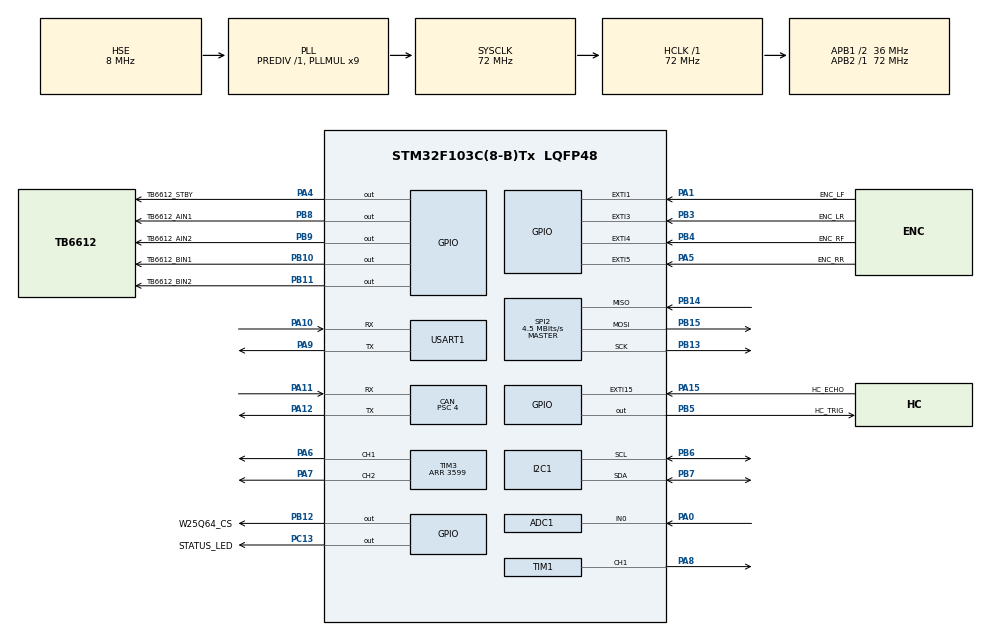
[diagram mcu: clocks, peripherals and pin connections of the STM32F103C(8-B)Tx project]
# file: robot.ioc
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ADC1.Channel-0\#ChannelRegularConversion=ADC_CHANNEL_0
ADC1.ContinuousConvMode=DISABLE
ADC1.NbrOfConversionFlag=1
ADC1.Rank-0\#ChannelRegularConversion=1
ADC1.SamplingTime-0\#ChannelRegularConversion=ADC_SAMPLETIME_55CYCLES_5
ADC1.master=1
CAN.BS1=CAN_BS1_15TQ
CAN.BS2=CAN_BS2_2TQ
CAN.CalculateBaudRate=500000
CAN.CalculateTimeBit=2000
CAN.CalculateTimeQuantum=111.11111111111111
CAN.ABOM=ENABLE
CAN.NART=DISABLE
CAN.Prescaler=4
Dma.ADC1.0.Direction=DMA_PERIPH_TO_MEMORY
Dma.ADC1.0.Instance=DMA1_Channel1
Dma.ADC1.0.MemDataAlignment=DMA_MDATAALIGN_HALFWORD
Dma.ADC1.0.MemInc=DMA_MINC_ENABLE
Dma.ADC1.0.Mode=DMA_NORMAL
Dma.ADC1.0.PeriphDataAlignment=DMA_PDATAALIGN_HALFWORD
Dma.ADC1.0.PeriphInc=DMA_PINC_DISABLE
Dma.ADC1.0.Priority=DMA_PRIORITY_MEDIUM
Dma.Request0=ADC1
Dma.Request1=USART1_RX
Dma.USART1_RX.1.Direction=DMA_PERIPH_TO_MEMORY
Dma.USART1_RX.1.Instance=DMA1_Channel5
Dma.USART1_RX.1.MemDataAlignment=DMA_MDATAALIGN_BYTE
Dma.USART1_RX.1.MemInc=DMA_MINC_ENABLE
Dma.USART1_RX.1.Mode=DMA_CIRCULAR
Dma.USART1_RX.1.PeriphDataAlignment=DMA_PDATAALIGN_BYTE
Dma.USART1_RX.1.PeriphInc=DMA_PINC_DISABLE
Dma.USART1_RX.1.Priority=DMA_PRIORITY_VERY_HIGH
FREERTOS.Tasks01=defaultTask,24,128,StartDefaultTask,Default,NULL,Static,defaultTaskBuffer,defaultTaskControlBlock
Mcu.Family=STM32F1
Mcu.Name=STM32F103C(8-B)Tx
Mcu.Package=LQFP48
NVIC.CAN1_SCE_IRQn=true\:5\:0\:false\:false\:true\:true\:true\:true\:true
NVIC.DMA1_Channel1_IRQn=true\:5\:0\:false\:false\:true\:true\:false\:true\:true
NVIC.DMA1_Channel5_IRQn=true\:5\:0\:false\:false\:true\:true\:false\:true\:true
NVIC.EXTI15_10_IRQn=true\:5\:0\:false\:false\:true\:true\:true\:true\:true
NVIC.EXTI1_IRQn=true\:5\:0\:false\:false\:true\:true\:true\:true\:true
NVIC.EXTI3_IRQn=true\:5\:0\:false\:false\:true\:true\:true\:true\:true
NVIC.EXTI4_IRQn=true\:5\:0\:false\:false\:true\:true\:true\:true\:true
NVIC.EXTI9_5_IRQn=true\:5\:0\:false\:false\:true\:true\:true\:true\:true
NVIC.PriorityGroup=NVIC_PRIORITYGROUP_4
NVIC.TIM2_IRQn=true\:5\:0\:false\:false\:true\:true\:true\:true\:true
NVIC.TIM4_IRQn=true\:15\:0\:false\:false\:true\:false\:false\:true\:true
NVIC.TimeBase=TIM4_IRQn
NVIC.TimeBaseIP=TIM4
NVIC.USART1_IRQn=true\:5\:0\:false\:false\:true\:true\:true\:true\:true
NVIC.USB_HP_CAN1_TX_IRQn=true\:5\:0\:false\:false\:true\:true\:true\:true\:true
NVIC.USB_LP_CAN1_RX0_IRQn=true\:5\:0\:false\:false\:true\:true\:true\:true\:true
PA0-WKUP.Signal=ADCx_IN0
PA1.GPIO_Label=ENC_LF
PA1.GPIO_PuPd=GPIO_PULLUP
PA1.Signal=GPXTI1
PA10.GPIO_PuPd=GPIO_PULLUP
PA10.Mode=Asynchronous
PA10.Signal=USART1_RX
PA11.Mode=CAN_Activate
PA11.Signal=CAN_RX
PA12.Mode=CAN_Activate
PA12.Signal=CAN_TX
PA13.Mode=Serial_Wire
PA13.Signal=SYS_JTMS-SWDIO
PA14.Mode=Serial_Wire
PA14.Signal=SYS_JTCK-SWCLK
PA15.GPIO_Label=HC_ECHO
PA15.GPIO_ModeDefaultEXTI=GPIO_MODE_IT_RISING_FALLING
PA15.GPIO_PuPd=GPIO_NOPULL
PA15.Signal=GPXTI15
PA4.GPIO_Label=TB6612_STBY
PA4.Signal=GPIO_Output
PA5.GPIO_Label=ENC_RR
PA5.GPIO_PuPd=GPIO_PULLUP
PA5.Signal=GPXTI5
PA6.Signal=S_TIM3_CH1
PA7.Signal=S_TIM3_CH2
PA8.Signal=S_TIM1_CH1
PA9.Mode=Asynchronous
PA9.Signal=USART1_TX
PB10.GPIO_Label=TB6612_BIN1
PB10.Signal=GPIO_Output
PB11.GPIO_Label=TB6612_BIN2
PB11.Signal=GPIO_Output
PB12.GPIO_Label=W25Q64_CS
PB12.PinState=GPIO_PIN_SET
PB12.Signal=GPIO_Output
PB13.Mode=Full_Duplex_Master
PB13.Signal=SPI2_SCK
PB14.Mode=Full_Duplex_Master
PB14.Signal=SPI2_MISO
PB15.Mode=Full_Duplex_Master
PB15.Signal=SPI2_MOSI
PB3.GPIO_Label=ENC_LR
PB3.GPIO_PuPd=GPIO_PULLUP
PB3.Signal=GPXTI3
PB4.GPIO_Label=ENC_RF
PB4.GPIO_PuPd=GPIO_PULLUP
PB4.Signal=GPXTI4
PB5.GPIO_Label=HC_TRIG
PB5.Signal=GPIO_Output
PB6.Mode=I2C
PB6.Signal=I2C1_SCL
PB7.Mode=I2C
PB7.Signal=I2C1_SDA
PB8.GPIO_Label=TB6612_AIN1
PB8.Signal=GPIO_Output
PB9.GPIO_Label=TB6612_AIN2
PB9.Signal=GPIO_Output
PC13-TAMPER-RTC.GPIO_Label=STATUS_LED
PC13-TAMPER-RTC.PinState=GPIO_PIN_SET
PC13-TAMPER-RTC.Signal=GPIO_Output
PD0-OSC_IN.Mode=HSE-External-Oscillator
PD0-OSC_IN.Signal=RCC_OSC_IN
PD1-OSC_OUT.Mode=HSE-External-Oscillator
PD1-OSC_OUT.Signal=RCC_OSC_OUT
ProjectManager.HeapSize=0x200
ProjectManager.StackSize=0x400
ProjectManager.TargetToolchain=CMake
RCC.ADCPresc=RCC_ADCPCLK2_DIV6
RCC.AHBFreq_Value=72000000
RCC.APB1CLKDivider=RCC_HCLK_DIV2
RCC.APB1Freq_Value=36000000
RCC.APB1TimFreq_Value=72000000
RCC.APB2Freq_Value=72000000
RCC.APB2TimFreq_Value=72000000
RCC.HCLKFreq_Value=72000000
RCC.PLLMUL=RCC_PLL_MUL9
RCC.PLLSourceVirtual=RCC_PLLSOURCE_HSE
RCC.SYSCLKFreq_VALUE=72000000
RCC.SYSCLKSource=RCC_SYSCLKSOURCE_PLLCLK
RCC.USBFreq_Value=72000000
SH.ADCx_IN0.0=ADC1_IN0,IN0
SH.S_TIM1_CH1.0=TIM1_CH1,PWM Generation1 CH1
SH.S_TIM3_CH1.0=TIM3_CH1,PWM Generation1 CH1
SH.S_TIM3_CH2.0=TIM3_CH2,PWM Generation2 CH2
SPI2.BaudRatePrescaler=SPI_BAUDRATEPRESCALER_8
SPI2.CalculateBaudRate=4.5 MBits/s
SPI2.Direction=SPI_DIRECTION_2LINES
SPI2.Mode=SPI_MODE_MASTER
SPI2.VirtualType=VM_MASTER
TIM1.Channel-PWM\ Generation1\ CH1=TIM_CHANNEL_1
TIM1.Period=19999
TIM1.Prescaler=71
TIM1.Pulse-PWM\ Generation1\ CH1=1500
TIM2.Period=65535
TIM2.Prescaler=71
TIM3.Channel-PWM\ Generation1\ CH1=TIM_CHANNEL_1
TIM3.Channel-PWM\ Generation2\ CH2=TIM_CHANNEL_2
TIM3.Period=3599
USART1.VirtualMode=VM_ASYNC
VP_FREERTOS_VS_CMSIS_V2.Mode=CMSIS_V2
VP_SYS_VS_tim4.Mode=TIM4
VP_TIM2_VS_ClockSourceINT.Mode=Internal
board=custom

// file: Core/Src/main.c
/* USER CODE BEGIN Header */
/**
  ******************************************************************************
  * @file           : main.c
  * @brief          : Main program body
  ******************************************************************************
  * @attention
  *
  * Copyright (c) 2026 STMicroelectronics.
  * All rights reserved.
  *
  * This software is licensed under terms that can be found in the LICENSE file
  * in the root directory of this software component.
  * If no LICENSE file comes with this software, it is provided AS-IS.
  *
  ******************************************************************************
  */
/* USER CODE END Header */
#include "main.h"
#include "cmsis_os.h"
#include "adc.h"
#include "can.h"
#include "dma.h"
#include "i2c.h"
#include "spi.h"
#include "tim.h"
#include "usart.h"
#include "gpio.h"

/* USER CODE BEGIN Includes */
#include "motor.h"
#include "power_supply_guard.h"

/* USER CODE END Includes */

void SystemClock_Config(void);
void MX_FREERTOS_Init(void);

int main(void)
{

  /* MCU Configuration--------------------------------------------------------*/

  /* Reset of all peripherals, Initializes the Flash interface and the Systick. */
  HAL_Init();

  /* Configure the system clock */
  SystemClock_Config();

  /* Initialize all configured peripherals */
  MX_GPIO_Init();
  MX_DMA_Init();
  MX_ADC1_Init();
  MX_I2C1_Init();
  MX_SPI2_Init();
  MX_USART1_UART_Init();
  MX_CAN_Init();
  MX_TIM1_Init();
  MX_TIM2_Init();
  MX_TIM3_Init();
  /* USER CODE BEGIN 2 */
  if (!PowerSupplyGuard_Init())
  {
    Error_Handler();
  }

  /* USER CODE END 2 */

  /* Init scheduler */
  osKernelInitialize();  /* Call init function for freertos objects (in cmsis_os2.c) */
  MX_FREERTOS_Init();

  /* Start scheduler */
  osKernelStart();

  /* We should never get here as control is now taken by the scheduler */

  /* Infinite loop */
  /* USER CODE BEGIN WHILE */
  Error_Handler();
  while (1)
  {
    /* USER CODE END WHILE */

  }
}

void SystemClock_Config(void)
{
  RCC_OscInitTypeDef RCC_OscInitStruct = {0};
  RCC_ClkInitTypeDef RCC_ClkInitStruct = {0};
  RCC_PeriphCLKInitTypeDef PeriphClkInit = {0};

  /** Initializes the RCC Oscillators according to the specified parameters
  * in the RCC_OscInitTypeDef structure.
  */
  RCC_OscInitStruct.OscillatorType = RCC_OSCILLATORTYPE_HSE;
  RCC_OscInitStruct.HSEState = RCC_HSE_ON;
  RCC_OscInitStruct.HSEPredivValue = RCC_HSE_PREDIV_DIV1;
  RCC_OscInitStruct.HSIState = RCC_HSI_ON;
  RCC_OscInitStruct.PLL.PLLState = RCC_PLL_ON;
  RCC_OscInitStruct.PLL.PLLSource = RCC_PLLSOURCE_HSE;
  RCC_OscInitStruct.PLL.PLLMUL = RCC_PLL_MUL9;
  if (HAL_RCC_OscConfig(&RCC_OscInitStruct) != HAL_OK)
  {
    Error_Handler();
  }

  /** Initializes the CPU, AHB and APB buses clocks
  */
  RCC_ClkInitStruct.ClockType = RCC_CLOCKTYPE_HCLK|RCC_CLOCKTYPE_SYSCLK
                              |RCC_CLOCKTYPE_PCLK1|RCC_CLOCKTYPE_PCLK2;
  RCC_ClkInitStruct.SYSCLKSource = RCC_SYSCLKSOURCE_PLLCLK;
  RCC_ClkInitStruct.AHBCLKDivider = RCC_SYSCLK_DIV1;
  RCC_ClkInitStruct.APB1CLKDivider = RCC_HCLK_DIV2;
  RCC_ClkInitStruct.APB2CLKDivider = RCC_HCLK_DIV1;

  if (HAL_RCC_ClockConfig(&RCC_ClkInitStruct, FLASH_LATENCY_2) != HAL_OK)
  {
    Error_Handler();
  }
  PeriphClkInit.PeriphClockSelection = RCC_PERIPHCLK_ADC;
  PeriphClkInit.AdcClockSelection = RCC_ADCPCLK2_DIV6;
  if (HAL_RCCEx_PeriphCLKConfig(&PeriphClkInit) != HAL_OK)
  {
    Error_Handler();
  }
}

void HAL_TIM_PeriodElapsedCallback(TIM_HandleTypeDef *htim)
{
  if (htim->Instance == TIM4)
  {
    HAL_IncTick();
  }
}

void Error_Handler(void)
{
  /* USER CODE BEGIN Error_Handler_Debug */
  MotorDriver_EmergencyStop();
  __disable_irq();
  while (1)
  {
  }
  /* USER CODE END Error_Handler_Debug */
}
#ifdef USE_FULL_ASSERT
/**
  * @brief  Reports the name of the source file and the source line number
  *         where the assert_param error has occurred.
  * @param  file: pointer to the source file name
  * @param  line: assert_param error line source number
  * @retval None
  */
void assert_failed(uint8_t *file, uint32_t line)
{
  /* USER CODE BEGIN 6 */
  (void)file;
  (void)line;
  Error_Handler();
  /* USER CODE END 6 */
}
#endif /* USE_FULL_ASSERT */

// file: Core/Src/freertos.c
/* USER CODE BEGIN Header */
/**
  ******************************************************************************
  * File Name          : freertos.c
  * Description        : Code for freertos applications
  ******************************************************************************
  * @attention
  *
  * Copyright (c) 2026 STMicroelectronics.
  * All rights reserved.
  *
  * This software is licensed under terms that can be found in the LICENSE file
  * in the root directory of this software component.
  * If no LICENSE file comes with this software, it is provided AS-IS.
  *
  ******************************************************************************
  */
/* USER CODE END Header */

#include "FreeRTOS.h"
#include "task.h"
#include "main.h"
#include "cmsis_os.h"

/* USER CODE BEGIN Includes */
#include "app_tasks.h"

/* USER CODE END Includes */

typedef StaticTask_t osStaticThreadDef_t;

/* Definitions for defaultTask */
osThreadId_t defaultTaskHandle;
uint32_t defaultTaskBuffer[ 128 ];
osStaticThreadDef_t defaultTaskControlBlock;
const osThreadAttr_t defaultTask_attributes = {
  .name = "defaultTask",
  .cb_mem = &defaultTaskControlBlock,
  .cb_size = sizeof(defaultTaskControlBlock),
  .stack_mem = &defaultTaskBuffer[0],
  .stack_size = sizeof(defaultTaskBuffer),
  .priority = (osPriority_t) osPriorityNormal,
};

void StartDefaultTask(void *argument);

void MX_FREERTOS_Init(void); /* (MISRA C 2004 rule 8.1) */

void MX_FREERTOS_Init(void) {
  /* USER CODE BEGIN Init */
  if (osKernelGetState() != osKernelReady)
  {
    Error_Handler();
  }
  /* USER CODE END Init */

  /* Create the thread(s) */
  /* creation of defaultTask */
  defaultTaskHandle = osThreadNew(StartDefaultTask, NULL, &defaultTask_attributes);

  /* USER CODE BEGIN RTOS_THREADS */
  if (defaultTaskHandle == NULL)
  {
    Error_Handler();
  }
  /* USER CODE END RTOS_THREADS */

  /* USER CODE BEGIN RTOS_EVENTS */
  /* Commit all static application tasks before the scheduler can run any of
     them. A partial creation failure stays inside the existing fail-stop path. */
  if (!AppTasks_Init())
  {
    Error_Handler();
  }
  /* USER CODE END RTOS_EVENTS */

}

void StartDefaultTask(void *argument)
{
  /* USER CODE BEGIN StartDefaultTask */
  (void)argument;

  /* CubeMX's static default task has no application work after pre-start init. */
  osThreadExit();
  /* USER CODE END StartDefaultTask */
}
